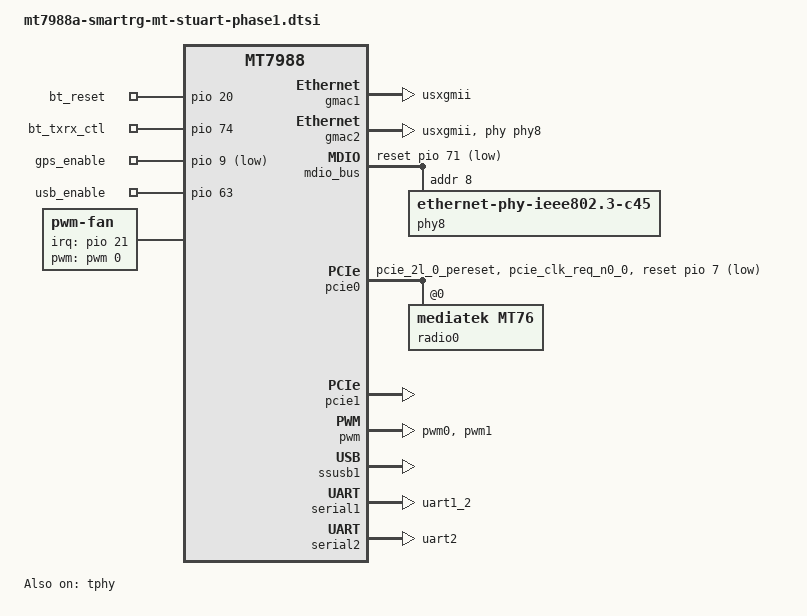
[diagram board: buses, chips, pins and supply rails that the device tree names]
// SPDX-License-Identifier: (GPL-2.0 OR MIT)
/*
 * Copyright (C) 2023 SmartRG Inc.
 * Author: Chad Monroe <chad.monroe@smartrg.com>
 *
 * Mt. Stuart phase 1: AQR113C 10G LAN, MT7996 tri-band radio on
 * pcie0/pcie1, built-in switch as lan2..lan4, GPS and Bluetooth
 * uarts, fan. The WAN frontend differs per model: SDG-8733 adds a
 * second AQR113C, SDG-8734 an SFP+ cage.
 */

#include "mt7988-smartrg-base.dtsi"
#include "mt7988-smartrg-sysled.dtsi"
#include "mt7988-smartrg-mt-stuart-gsw.dtsi"
#include "mt798x-smartrg-factory.dtsi"

/ {
	aliases {
		label-mac-device = &gmac1;
	};

	gpio-keys {
		button-sync {
			label = "sync";
			linux,code = <KEY_WPS_BUTTON>;
			gpios = <&pio 14 GPIO_ACTIVE_LOW>;
		};
	};

	gpio-export {
		compatible = "gpio-export";

		bluetooth_reset {
			gpio-export,name = "bt_reset";
			gpio-export,direction_may_change;
			gpios = <&pio 20 GPIO_ACTIVE_HIGH>;
		};

		bluetooth_txrx_ctl {
			gpio-export,name = "bt_txrx_ctl";
			gpio-export,direction_may_change;
			gpios = <&pio 74 GPIO_ACTIVE_HIGH>;
		};

		gps_enable {
			gpio-export,name = "gps_enable";
			gpio-export,output = <1>;
			gpios = <&pio 9 GPIO_ACTIVE_LOW>;
		};

		usb_enable {
			gpio-export,name = "usb_enable";
			gpio-export,output = <1>;
			gpios = <&pio 63 GPIO_ACTIVE_HIGH>;
		};
	};

	fan: pwm-fan {
		compatible = "pwm-fan";
		#cooling-cells = <2>;
		#thermal-sensor-cells = <1>;

		pwms = <&pwm 0 40000 0>;

		/**
		 * set fan speed
		 *
		 * 0 = off
		 * 61 = 24% duty cycle
		 * 77 = 30% duty cycle
		 * 102 = 40% duty cycle
		 * 128 - 50% duty cycle
		 * 255 = 100% duty cycle
		 */
		cooling-levels = <61 77 102 128>;

		interrupt-parent = <&pio>;
		interrupts = <21 IRQ_TYPE_EDGE_FALLING>;
		pulses-per-revolution = <2>;

		status = "okay";
	};

	sdg_thermal: thermal-zones {
		cpu_thermal: cpu-thermal {
			thermal-sensors = <&lvts 0>;
			SDG_1FAN_THERMAL_MAP(cpu_thermal, &fan,
					     125000, 120000,
					     110000, 80000,
					     60000, 40000);
		};

		aqr_lan_thermal: aqr-lan-thermal {
			thermal-sensors = <&phy8>;
			SDG_1FAN_THERMAL_MAP(aqr_lan_thermal, &fan,
					     108000, 104000,
					     100000, 90000,
					     80000, 40000);
		};
	};
};

&button_pins {
	pins = "GPIO_RESET", "GPIO_WPS";
};

&gmac1 {
	nvmem-cells = <&macaddr 0x0>;
	nvmem-cell-names = "mac-address";
	label = "wan";
	phy-mode = "usxgmii";

	status = "okay";
};

&gmac2 {
	nvmem-cells = <&macaddr 0x1>;
	nvmem-cell-names = "mac-address";
	label = "lan1";
	phy-mode = "usxgmii";
	managed = "in-band-status";
	phy = <&phy8>;

	status = "okay";
};

&mdio_bus {
	reset-gpios = <&pio 71 GPIO_ACTIVE_LOW>;
	reset-delay-us = <100000>;
	reset-post-delay-us = <1000000>;

	phy8: ethernet-phy@8 {
		/* AQR113C */
		compatible = "ethernet-phy-ieee802.3-c45";
		reg = <8>;
		#thermal-sensor-cells = <0>;

		leds {
			#address-cells = <1>;
			#size-cells = <0>;

			led@0 {
				reg = <0>;
				function = LED_FUNCTION_LAN;
				color = <LED_COLOR_ID_GREEN>;
			};

			led@1 {
				reg = <1>;
				function = LED_FUNCTION_LAN;
				color = <LED_COLOR_ID_ORANGE>;
			};

			led@2 {
				reg = <2>;
				function = LED_FUNCTION_LAN;
				color = <LED_COLOR_ID_WHITE>;
				active-high;
			};
		};
	};
};

&pcie0 {
	pinctrl-names = "default";
	pinctrl-0 = <&pcie0_1_pins>;
	reset-gpios = <&pio 7 GPIO_ACTIVE_LOW>;
	status = "okay";

	pcie@0,0 {
		reg = <0x0000 0 0 0 0>;
		#address-cells = <3>;
		#size-cells = <2>;

		radio0: wifi@0,0 {
			compatible = "mediatek,mt76";
			reg = <0x0000 0 0 0 0>;
			#address-cells = <1>;
			#size-cells = <0>;
			nvmem-cells = <&eeprom_factory_0>;
			nvmem-cell-names = "eeprom";
			ieee80211-freq-limit = <2400000 2500000>, <5170000 5835000>, <5945000 7125000>;

			band@0 {
				/* 2.4 GHz */
				reg = <0>;
				nvmem-cells = <&macaddr 0x4>;
				nvmem-cell-names = "mac-address";
			};

			band@1 {
				/* 5 GHz */
				reg = <1>;
				nvmem-cells = <&macaddr 0xa>;
				nvmem-cell-names = "mac-address";
			};

			band@2 {
				/* 6 GHz */
				reg = <2>;
				nvmem-cells = <&macaddr 0x6>;
				nvmem-cell-names = "mac-address";
			};
		};
	};
};

&pcie1 {
	/* second PCIe function of the MT7996 module */
	status = "okay";
};

&pio {
	pcie0_1_pins: pcie0-pins-g1 {
		mux {
			function = "pcie";
			groups = "pcie_2l_0_pereset", "pcie_clk_req_n0_0";
		};
	};

	pwm_pins: pwm-pins {
		mux {
			function = "pwm";
			groups = "pwm0", "pwm1";
		};
	};

	uart1_pins: uart1-pins {
		mux {
			function = "uart";
			groups = "uart1_2";
		};
	};

	uart2_pins: uart2-pins {
		mux {
			function = "uart";
			groups = "uart2";
		};
	};
};

&pwm {
	pinctrl-names = "default";
	pinctrl-0 = <&pwm_pins>;
	status = "okay";
};

&ssusb1 {
	mediatek,u3p-dis-msk = <0x1>;
	status = "okay";
};

&tphy {
	status = "okay";
};

&serial1 {
	pinctrl-names = "default";
	pinctrl-0 = <&uart1_pins>;
	status = "okay";

	/* Airoha AG3352 GPS */
};

&serial2 {
	pinctrl-names = "default";
	pinctrl-0 = <&uart2_pins>;
	status = "okay";

	/* DA14531MOD Bluetooth */
};
